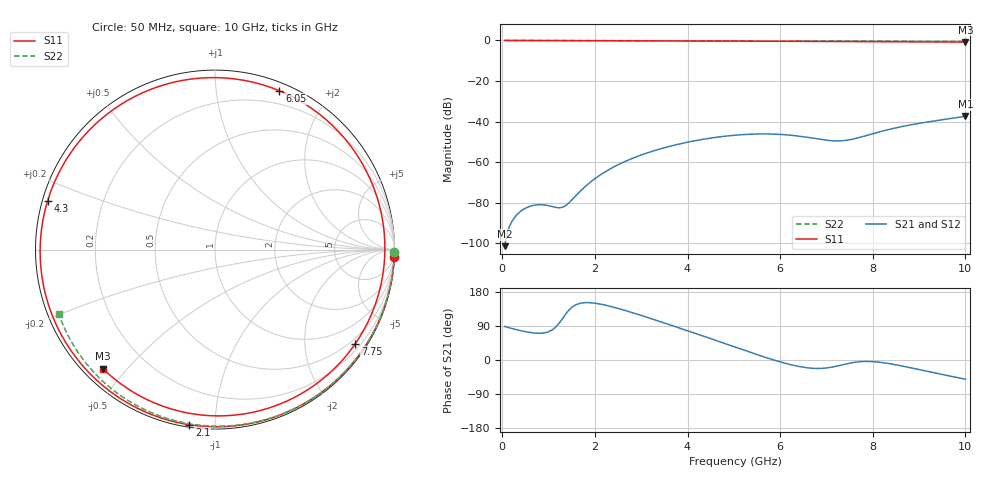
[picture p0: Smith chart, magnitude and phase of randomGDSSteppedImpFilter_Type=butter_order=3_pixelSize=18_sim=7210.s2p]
! freq	dB(S11)	phase(S11)	dB(S12)	phase(S12)
!  dB(S21)	phase(S21)	dB(S22)	phase(S22)
!S-par simulation data
#  GHz  S  DB  R 50
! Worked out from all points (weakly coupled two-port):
!   200 points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, 50 MHz to 10 GHz, reference 50 ohm
!   highest |S21| = -37.37 dB at 10 GHz (marker M1); lowest = -101.3 dB at 50 MHz (marker M2)
!   lowest |S11| = -0.8 dB at 10 GHz (marker M3), VSWR 21.44, Z = 2.77 - j21.5 ohm
!   |S11| at or under -10 dB: nowhere
!   |S22| runs from -0.5 to 0.0 dB; largest |S21 - S12| = 0
!   S11 on the Smith chart (normalised r, x): 50 MHz: 0, -46; 2.1 GHz: 0.01, -0.86; 4.3 GHz: 0.01, +0.14; 6.05 GHz: 0.07, +1.48; 7.75 GHz: 0.35, -3.25; 10 GHz: 0.06, -0.43
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0.05  -0.00 -2.5  -101.33 88.5  -101.33 88.5  -0.00 -0.9
0.65  -0.04 -31.5  -81.37 71.7  -81.37 71.7  -0.02 -11.8
1.4  -0.08 -66.8  -80.79 126.1  -80.79 126.1  -0.03 -25.2
1.45  -0.09 -69.1  -79.76 133.1  -79.76 133.1  -0.03 -26.1
1.75  -0.10 -82.7  -72.80 151.0  -72.80 151.0  -0.04 -31.4
2.1  -0.12 -98.4  -66.47 147.9  -66.47 147.9  -0.05 -37.5
2.7  -0.15 -124.6  -59.12 129.0  -59.12 129.0  -0.06 -47.8
3.4  -0.19 -155.1  -53.48 101.7  -53.48 101.7  -0.08 -59.5
3.85  -0.22 -175.3  -50.86 83.4  -50.86 83.4  -0.09 -66.9
4.3  -0.25 163.7  -48.82 64.7  -48.82 64.7  -0.11 -74.1
4.65  -0.28 146.5  -47.61 49.9  -47.61 49.9  -0.12 -79.6
5.05  -0.32 125.7  -46.62 33.0  -46.62 33.0  -0.13 -85.8
5.55  -0.36 97.7  -46.05 12.2  -46.05 12.2  -0.15 -93.4
6.05  -0.40 67.9  -46.35 -6.6  -46.35 -6.6  -0.18 -100.9
6.35  -0.42 49.4  -46.98 -15.7  -46.98 -15.7  -0.19 -105.3
6.7  -0.45 27.7  -48.12 -21.8  -48.12 -21.8  -0.22 -110.4
7.2  -0.48 -2.6  -49.48 -16.8  -49.48 -16.8  -0.25 -117.6
7.75  -0.53 -33.9  -47.55 -4.2  -47.55 -4.2  -0.29 -125.5
8.35  -0.59 -64.5  -43.83 -9.4  -43.83 -9.4  -0.34 -134.0
8.7  -0.64 -80.8  -42.09 -17.5  -42.09 -17.5  -0.38 -138.9
9.1  -0.69 -98.1  -40.46 -27.9  -40.46 -27.9  -0.42 -144.6
10  -0.81 -133.3  -37.37 -50.6  -37.37 -50.6  -0.53 -157.7
